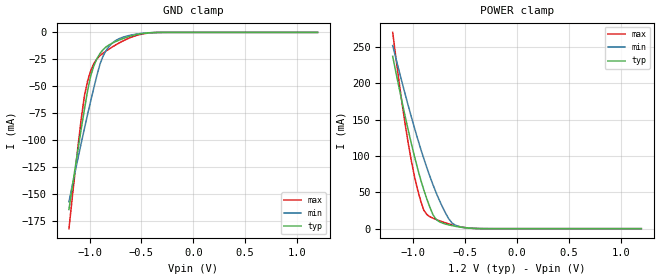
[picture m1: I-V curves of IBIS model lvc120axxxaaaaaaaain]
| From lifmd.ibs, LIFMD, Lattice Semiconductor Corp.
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|   Model lvc120axxxaaaaaaaain
[Model] lvc120axxxaaaaaaaain
Model_type Input
Polarity   Non-Inverting
Vinl =  0.420V
Vinh =  0.780V
C_comp   5.000pF   4.000pF   5.500pF
[Temperature Range]   25.000   0.125k   -40.000
[Voltage Range]   1.200V   1.140V   1.260V
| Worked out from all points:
|   GND clamp passes 1 mA (typ) near -0.48 V on its own axis
|   POWER clamp passes 1 mA (typ) near -0.49 V on its own axis
[GND_clamp]
|Voltage   I(typ)   I(min)   I(max)
-1.2V     -164.5mA   -157.3mA   -182.3mA
-1.11V    -107mA     -115.7mA   -103.5mA
-1.05V    -71.11mA   -89.05mA   -58.53mA
-1.02V    -54.23mA   -76.19mA   -45.11mA
-990mV    -40.37mA   -63.68mA   -35.65mA
-960mV    -31.12mA   -51.57mA   -29.01mA
-900mV    -19.51mA   -29.36mA   -21.51mA
-870mV    -15.95mA   -21.89mA   -19.19mA
-810mV    -11.49mA   -12.65mA   -15.26mA
-750mV    -8.556mA   -7.618mA   -11.71mA
-480mV    -930.3uA   -744.4uA   -1.274mA
1.2V      0A         0A         0A
[POWER_clamp]
|Voltage   I(typ)   I(min)   I(max)
-1.2V     237mA      251.9mA    270mA
-1.11V    174.5mA    201.4mA    172.7mA
-1.02V    117mA      153.7mA    93.32mA
-990mV    99.45mA    138.6mA    72.01mA
-930mV    67.46mA    109.9mA    38.25mA
-900mV    53.33mA    96.45mA    25.43mA
-870mV    40.57mA    83.67mA    19.3mA
-810mV    18.72mA    59.99mA    14.34mA
-780mV    12.67mA    49.18mA    12.59mA
-660mV    5.246mA    13.71mA    6.607mA
-570mV    2.605mA    3.346mA    3.25mA
1.2V      0A         0A         0A
